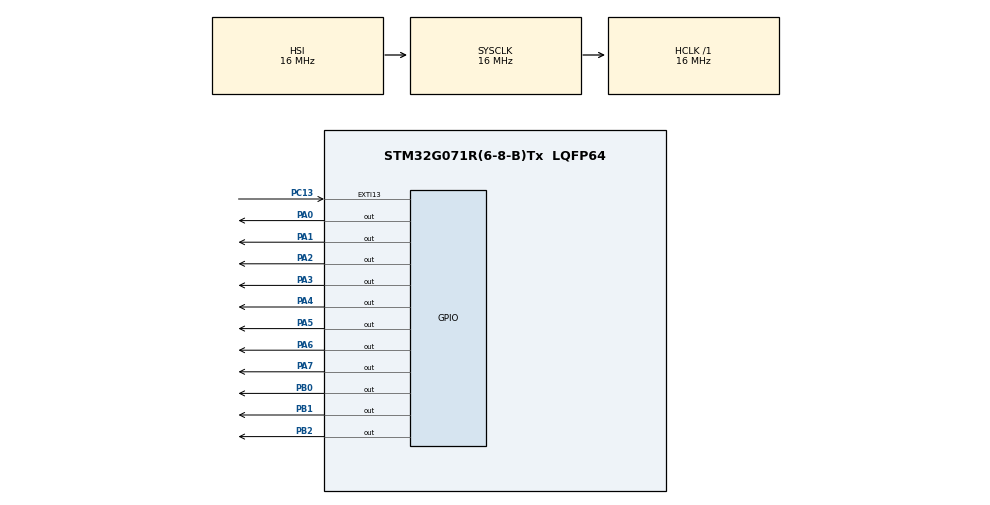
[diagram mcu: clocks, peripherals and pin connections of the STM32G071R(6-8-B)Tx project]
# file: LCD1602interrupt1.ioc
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Mcu.Family=STM32G0
Mcu.Name=STM32G071R(6-8-B)Tx
Mcu.Package=LQFP64
NVIC.EXTI4_15_IRQn=true\:0\:0\:false\:false\:true\:true\:true
PA0.Signal=GPIO_Output
PA1.Signal=GPIO_Output
PA2.Signal=GPIO_Output
PA3.Signal=GPIO_Output
PA4.Signal=GPIO_Output
PA5.Signal=GPIO_Output
PA6.Signal=GPIO_Output
PA7.Signal=GPIO_Output
PB0.Signal=GPIO_Output
PB1.Signal=GPIO_Output
PB2.Signal=GPIO_Output
PC13.GPIO_ModeDefaultEXTI=GPIO_MODE_IT_FALLING
PC13.Signal=GPXTI13
ProjectManager.HeapSize=0x200
ProjectManager.StackSize=0x400
ProjectManager.TargetToolchain=MDK-ARM V5.27
RCC.AHBFreq_Value=16000000
RCC.CortexFreq_Value=16000000
RCC.EXTERNAL_CLOCK_VALUE=48000
RCC.HCLKFreq_Value=16000000
RCC.HSE_VALUE=8000000
RCC.HSI_VALUE=16000000
RCC.LSE_VALUE=32768
RCC.SYSCLKFreq_VALUE=16000000
RCC.VCOOutputFreq_Value=128000000
VP_SYS_VS_DBSignals.Mode=DisableDeadBatterySignals
board=custom

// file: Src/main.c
/* USER CODE BEGIN Header */
/**
  ******************************************************************************
  * @file           : main.c
  * @brief          : Main program body
  ******************************************************************************
  * @attention
  *
  * <h2><center>&copy; Copyright (c) 2021 STMicroelectronics.
  * All rights reserved.</center></h2>
  *
  * This software component is licensed by ST under BSD 3-Clause license,
  * the "License"; You may not use this file except in compliance with the
  * License. You may obtain a copy of the License at:
  *                        opensource.org/licenses/BSD-3-Clause
  *
  ******************************************************************************
  */
/* USER CODE END Header */
#include "main.h"

#define u8  unsigned char
#define u16 unsigned int

void delay(void);
void lcdwritecmd(unsigned char cmd);
void lcdwritedata(unsigned char dat);
void lcdinit(void);
void lcdsetcursor(unsigned char x, unsigned char y);
void lcdshowstr(unsigned char x, unsigned char y, unsigned char *str);

int location=9;
int counter=0;
unsigned char tstr[5];

void SystemClock_Config(void);
static void MX_GPIO_Init(void);

int main(void)
{

  /* MCU Configuration--------------------------------------------------------*/

  /* Reset of all peripherals, Initializes the Flash interface and the Systick. */
  HAL_Init();

  /* Configure the system clock */
  SystemClock_Config();

  /* Initialize all configured peripherals */
  MX_GPIO_Init();
  /* USER CODE BEGIN 2 */
  lcdinit();
	delay();
	lcdshowstr(0,0,"Interrupt Counter");
	lcdshowstr(11,1,"times");
	sprintf(tstr,"%d",counter);
  lcdshowstr(location,1,tstr);
  /* USER CODE END 2 */

  /* Infinite loop */
  while (1)
  {

  }
}

void SystemClock_Config(void)
{
  RCC_OscInitTypeDef RCC_OscInitStruct = {0};
  RCC_ClkInitTypeDef RCC_ClkInitStruct = {0};

  /** Configure the main internal regulator output voltage
  */
  HAL_PWREx_ControlVoltageScaling(PWR_REGULATOR_VOLTAGE_SCALE1);
  /** Initializes the RCC Oscillators according to the specified parameters
  * in the RCC_OscInitTypeDef structure.
  */
  RCC_OscInitStruct.OscillatorType = RCC_OSCILLATORTYPE_HSI;
  RCC_OscInitStruct.HSIState = RCC_HSI_ON;
  RCC_OscInitStruct.HSIDiv = RCC_HSI_DIV1;
  RCC_OscInitStruct.HSICalibrationValue = RCC_HSICALIBRATION_DEFAULT;
  RCC_OscInitStruct.PLL.PLLState = RCC_PLL_NONE;
  if (HAL_RCC_OscConfig(&RCC_OscInitStruct) != HAL_OK)
  {
    Error_Handler();
  }
  /** Initializes the CPU, AHB and APB buses clocks
  */
  RCC_ClkInitStruct.ClockType = RCC_CLOCKTYPE_HCLK|RCC_CLOCKTYPE_SYSCLK
                              |RCC_CLOCKTYPE_PCLK1;
  RCC_ClkInitStruct.SYSCLKSource = RCC_SYSCLKSOURCE_HSI;
  RCC_ClkInitStruct.AHBCLKDivider = RCC_SYSCLK_DIV1;
  RCC_ClkInitStruct.APB1CLKDivider = RCC_HCLK_DIV1;

  if (HAL_RCC_ClockConfig(&RCC_ClkInitStruct, FLASH_LATENCY_0) != HAL_OK)
  {
    Error_Handler();
  }
}

static void MX_GPIO_Init(void)
{
  GPIO_InitTypeDef GPIO_InitStruct = {0};

  /* GPIO Ports Clock Enable */
  __HAL_RCC_GPIOC_CLK_ENABLE();
  __HAL_RCC_GPIOA_CLK_ENABLE();
  __HAL_RCC_GPIOB_CLK_ENABLE();

  /*Configure GPIO pin Output Level */
  HAL_GPIO_WritePin(GPIOA, GPIO_PIN_0|GPIO_PIN_1|GPIO_PIN_2|GPIO_PIN_3
                          |GPIO_PIN_4|GPIO_PIN_5|GPIO_PIN_6|GPIO_PIN_7, GPIO_PIN_RESET);

  /*Configure GPIO pin Output Level */
  HAL_GPIO_WritePin(GPIOB, GPIO_PIN_0|GPIO_PIN_1|GPIO_PIN_2, GPIO_PIN_RESET);

  /*Configure GPIO pin : PC13 */
  GPIO_InitStruct.Pin = GPIO_PIN_13;
  GPIO_InitStruct.Mode = GPIO_MODE_IT_FALLING;
  GPIO_InitStruct.Pull = GPIO_NOPULL;
  HAL_GPIO_Init(GPIOC, &GPIO_InitStruct);

  /*Configure GPIO pins : PA0 PA1 PA2 PA3
                           PA4 PA5 PA6 PA7 */
  GPIO_InitStruct.Pin = GPIO_PIN_0|GPIO_PIN_1|GPIO_PIN_2|GPIO_PIN_3
                          |GPIO_PIN_4|GPIO_PIN_5|GPIO_PIN_6|GPIO_PIN_7;
  GPIO_InitStruct.Mode = GPIO_MODE_OUTPUT_PP;
  GPIO_InitStruct.Pull = GPIO_NOPULL;
  GPIO_InitStruct.Speed = GPIO_SPEED_FREQ_LOW;
  HAL_GPIO_Init(GPIOA, &GPIO_InitStruct);

  /*Configure GPIO pins : PB0 PB1 PB2 */
  GPIO_InitStruct.Pin = GPIO_PIN_0|GPIO_PIN_1|GPIO_PIN_2;
  GPIO_InitStruct.Mode = GPIO_MODE_OUTPUT_PP;
  GPIO_InitStruct.Pull = GPIO_NOPULL;
  GPIO_InitStruct.Speed = GPIO_SPEED_FREQ_LOW;
  HAL_GPIO_Init(GPIOB, &GPIO_InitStruct);

  /* EXTI interrupt init*/
  HAL_NVIC_SetPriority(EXTI4_15_IRQn, 0, 0);
  HAL_NVIC_EnableIRQ(EXTI4_15_IRQn);

}

/* USER CODE BEGIN 4 */
void delay ()
{
	for(int i=0;i<99;i++)
	  for(int j=0;j<99;j++)
	 {}
}

void lcdwritecmd(unsigned char cmd)
{
	// lcdwait();
	delay();
	GPIOB->ODR=0x00;  //E=0\RW=0\RS=0
	GPIOA->ODR=cmd;
	GPIOB->ODR=0x04;	//E=1\RW=0\RS=0
	delay();
	GPIOB->ODR=0x00;	//E=0\RW=0\RS=0
}

void lcdwritedata(unsigned char dat)
{
  //	lcdwait();
  delay();
	GPIOB->ODR=0x01;	//E=0\RW=0\RS=1
  GPIOA->ODR=dat;
	GPIOB->ODR=0x05;	//E=1\RW=0\RS=1
	delay();
	GPIOB->ODR=0x01;	//E=0\RW=0\RS=1
}

void lcdinit()
{
	lcdwritecmd(0x38); //2hang moshi 5*8dian zhen 8wei kuandu
	lcdwritecmd(0x0c); //dakai xianshi guanbi guangbiao
	lcdwritecmd(0x06); //wenzi budong dizhi zidong jiayi
	lcdwritecmd(0x01); //qingping
}

void lcdsetcursor(unsigned char x, unsigned char y)
{
	unsigned char address;
	if(y==0)            //diyihang cunchuqi dizhi 00kaishi
		address=0x00+x;
	else                //dierhang cunchuqi dizhi  40kaishi
		address=0x40+x;
	lcdwritecmd(address|0x80); //xie cunchuqi dizhi
}

void lcdshowstr(unsigned char x, unsigned char y, unsigned char *str)
{                         //zai x,y chu xianshi zifu
	lcdsetcursor(x,y);
	while((*str)!='\0')  		//bushi zifuchuan jiewei jixu
	{
		 lcdwritedata(*str); 	//xieshujv
		 str++;              	//zhizhen jiayi zhixiang xiayige zifu
	}
}

void HAL_GPIO_EXTI_Falling_Callback(uint16_t GPIO_Pin)
{
	counter++;
	if(counter>99999)
	{
			lcdshowstr(0,1,"  !!!ERROR!!!   ");
	}
	else if(counter>9999) location=5;
	else if(counter>999)  location=6;
	else if(counter>99)   location=7;
	else if(counter>9)    location=8;
	sprintf(tstr,"%d",counter);
	lcdshowstr(location,1,tstr);
}
/* USER CODE END 4 */

void Error_Handler(void)
{
  __disable_irq();
  while (1)
  {
  }
}

/************************ (C) COPYRIGHT STMicroelectronics *****END OF FILE****/
